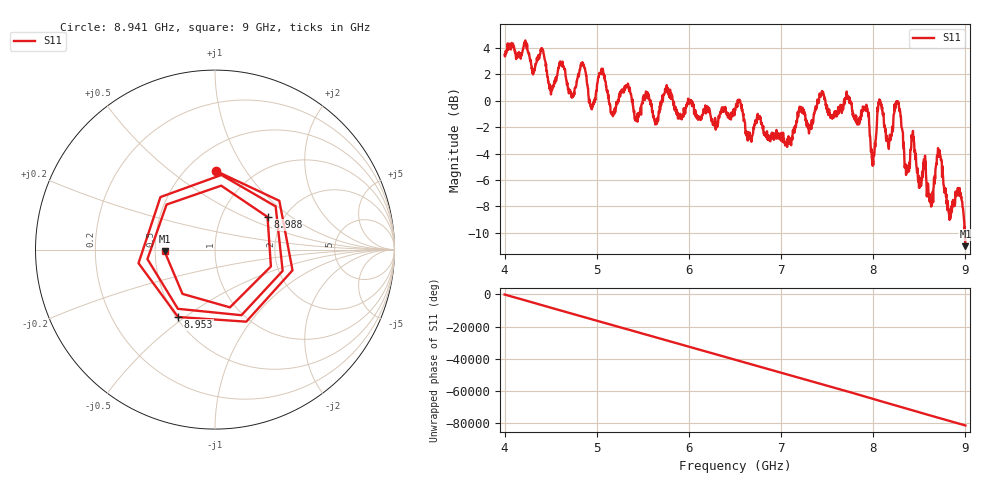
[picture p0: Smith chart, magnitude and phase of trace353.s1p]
! Created with skrf 1.8.0 (http://scikit-rf.org).
# Hz S RI R 50.0
!freq ReS11 ImS11
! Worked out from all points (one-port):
!   1601 points, 4 GHz to 9 GHz, reference 50 ohm
!   lowest |S11| = -11.0 dB at 9 GHz (marker M1), VSWR 1.78, Z = 28 - j0.58 ohm
!   |S11| at or under -10 dB: 8.995817 GHz to end of sweep
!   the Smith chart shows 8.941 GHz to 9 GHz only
!   S11 on the Smith chart (normalised r, x): 8.941 GHz: 0.69, +0.74; 8.953 GHz: 0.51, -0.47; 8.988 GHz: 1.65, +0.68; 9 GHz: 0.56, -0.01
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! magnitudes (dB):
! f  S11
! 4 GHz  3.5
! 4.406 GHz  3.9
! 4.506 GHz  0.8
! 4.625 GHz  2.6
! 4.731 GHz  0.5
! 4.85 GHz  2.8
! 4.941 GHz  -0.6
! 5.05 GHz  2.2
! 5.162 GHz  -0.9
! 5.25 GHz  0.6
! 5.875 GHz  -1.0
! 6.5 GHz  -0.8
! 7.125 GHz  -2.6
! 7.75 GHz  0.0
! 7.928 GHz  -0.4
! 7.997 GHz  -4.5
! 8.069 GHz  0.0
! 8.162 GHz  -3.4
! 8.266 GHz  0.0
! 8.375 GHz  -5.2
! 8.428 GHz  -2.5
! 8.625 GHz  -7.7
! 8.716 GHz  -3.9
! 8.822 GHz  -8.6
! 8.941 GHz  -7.2
! 8.953 GHz  -7.4
! 8.988 GHz  -9.3
! 9 GHz  -11.0
